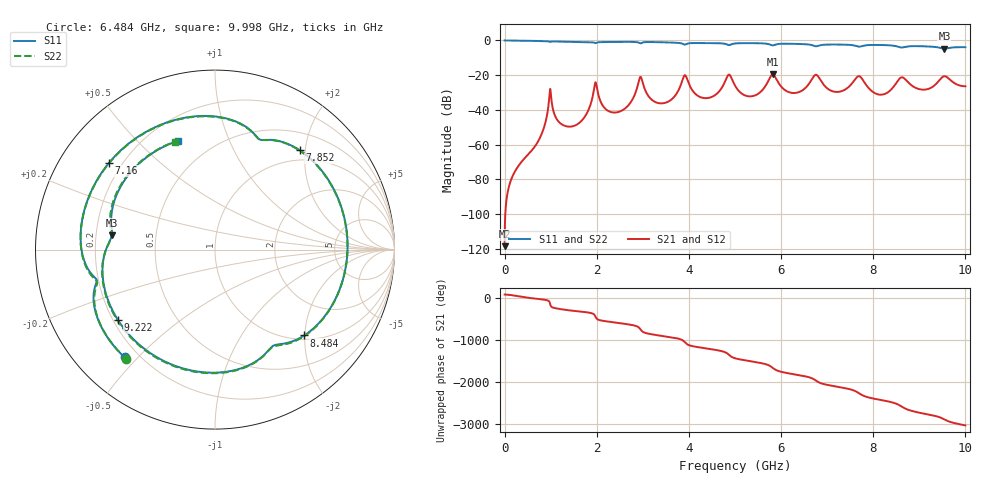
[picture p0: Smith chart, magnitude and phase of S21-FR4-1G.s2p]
! TOUCHSTONE file generated by CST MICROWAVE STUDIO
! Date and time: Sun Jun 29 15:01:49 2025
! Project name: ResonadorAnillo.cst
! Parameters = {Eeff=3.2499; Er=4.3; H=1.56; L1=41.6031; L2=41.6031; Landa=166.413; T=0.035; W=2.85151; Wa=2.85151; X=113.143; Y=113.143; c=3e+11; f=1e+09; r=26.4854; s=0.3}
! Header version: 2024
! Port assignment regex: !\s*Touchstone port\s*([0-9]+)\s*=\s*(CST MWS port|CST DES external port|CST DES block port)\s*(.+)\s* \(\"(.*)\"\)(\s*mode\s*([0-9]+))?.*
! Touchstone port assignment:
! Touchstone port 1 = CST MWS port 1 ("")
! Touchstone port 2 = CST MWS port 2 ("")
# GHz S DB R 50
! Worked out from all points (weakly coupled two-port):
!   5000 points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, 2 MHz to 10 GHz, reference 50 ohm
!   highest |S21| = -19.61 dB at 5.818 GHz (marker M1); lowest = -118.6 dB at 2 MHz (marker M2)
!   lowest |S11| = -4.7 dB at 9.546 GHz (marker M3), VSWR 3.76, Z = 13.4 + j3.25 ohm
!   |S11| at or under -10 dB: nowhere
!   |S22| runs from -4.7 to 0.0 dB; largest |S21 - S12| = 1.4e-12
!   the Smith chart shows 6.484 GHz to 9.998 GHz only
!   S11 on the Smith chart (normalised r, x): 6.484 GHz: 0.15, -0.46; 7.16 GHz: 0.15, +0.35; 7.852 GHz: 0.80, +1.89; 8.484 GHz: 1.09, -1.99; 9.222 GHz: 0.22, -0.31; 9.998 GHz: 0.32, +0.67
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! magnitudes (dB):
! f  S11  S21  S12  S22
! 2 MHz  0.0  -118.6  -118.6  0.0
! 722 MHz  -0.3  -58.5  -58.5  -0.3
! 990 MHz  -0.9  -28.0  -28.0  -0.9
! 1.67 GHz  -0.9  -46.3  -46.3  -1.0
! 1.976 GHz  -1.6  -24.1  -24.1  -1.6
! 2.318 GHz  -0.9  -41.3  -41.3  -0.9
! 2.95 GHz  -1.7  -21.0  -21.0  -1.7
! 3.336 GHz  -1.0  -36.1  -36.1  -1.0
! 3.912 GHz  -2.4  -20.0  -20.0  -2.4
! 4.314 GHz  -1.5  -33.1  -33.1  -1.5
! 5.002 GHz  -1.7  -26.0  -26.0  -1.7
! 5.818 GHz  -2.8  -19.6  -19.6  -2.8
! 6.484 GHz  -2.1  -28.4  -28.4  -2.1
! 6.668 GHz  -2.7  -22.4  -22.4  -2.7
! 7.16 GHz  -2.3  -29.6  -29.6  -2.4
! 7.852 GHz  -2.8  -25.8  -25.8  -2.8
! 8.334 GHz  -2.8  -29.6  -29.6  -2.8
! 8.484 GHz  -3.2  -25.1  -25.1  -3.2
! 9.222 GHz  -3.5  -27.7  -27.7  -3.5
! 9.546 GHz  -4.7  -20.6  -20.6  -4.7
! 9.998 GHz  -3.9  -26.4  -26.4  -3.9
! 10 GHz  -3.9  -26.4  -26.4  -3.9
